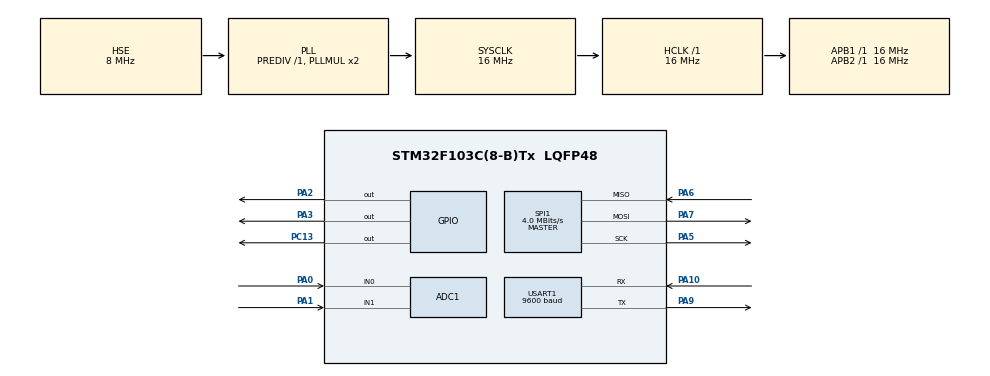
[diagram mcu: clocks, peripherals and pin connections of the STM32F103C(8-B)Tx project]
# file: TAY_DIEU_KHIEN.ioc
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ADC1.Channel-0\#ChannelRegularConversion=ADC_CHANNEL_0
ADC1.Channel-1\#ChannelRegularConversion=ADC_CHANNEL_1
ADC1.NbrOfConversion=2
ADC1.NbrOfConversionFlag=1
ADC1.Rank-0\#ChannelRegularConversion=1
ADC1.Rank-1\#ChannelRegularConversion=2
ADC1.SamplingTime-0\#ChannelRegularConversion=ADC_SAMPLETIME_1CYCLE_5
ADC1.SamplingTime-1\#ChannelRegularConversion=ADC_SAMPLETIME_1CYCLE_5
ADC1.master=1
Dma.ADC1.0.Direction=DMA_PERIPH_TO_MEMORY
Dma.ADC1.0.Instance=DMA1_Channel1
Dma.ADC1.0.MemDataAlignment=DMA_MDATAALIGN_HALFWORD
Dma.ADC1.0.MemInc=DMA_MINC_ENABLE
Dma.ADC1.0.Mode=DMA_CIRCULAR
Dma.ADC1.0.PeriphDataAlignment=DMA_PDATAALIGN_HALFWORD
Dma.ADC1.0.PeriphInc=DMA_PINC_DISABLE
Dma.ADC1.0.Priority=DMA_PRIORITY_LOW
Dma.Request0=ADC1
Mcu.Family=STM32F1
Mcu.Name=STM32F103C(8-B)Tx
Mcu.Package=LQFP48
NVIC.ADC1_2_IRQn=true\:0\:0\:false\:false\:true\:true\:true\:true
NVIC.DMA1_Channel1_IRQn=true\:0\:0\:false\:false\:true\:false\:true\:true
NVIC.PriorityGroup=NVIC_PRIORITYGROUP_4
PA0-WKUP.Signal=ADCx_IN0
PA1.Signal=ADCx_IN1
PA10.Mode=Asynchronous
PA10.Signal=USART1_RX
PA13.Mode=Serial_Wire
PA13.Signal=SYS_JTMS-SWDIO
PA14.Mode=Serial_Wire
PA14.Signal=SYS_JTCK-SWCLK
PA2.GPIO_Speed=GPIO_SPEED_FREQ_HIGH
PA2.Signal=GPIO_Output
PA3.GPIO_Speed=GPIO_SPEED_FREQ_HIGH
PA3.Signal=GPIO_Output
PA5.Mode=Full_Duplex_Master
PA5.Signal=SPI1_SCK
PA6.Mode=Full_Duplex_Master
PA6.Signal=SPI1_MISO
PA7.Mode=Full_Duplex_Master
PA7.Signal=SPI1_MOSI
PA9.Mode=Asynchronous
PA9.Signal=USART1_TX
PC13-TAMPER-RTC.GPIO_Speed=GPIO_SPEED_FREQ_HIGH
PC13-TAMPER-RTC.PinState=GPIO_PIN_SET
PC13-TAMPER-RTC.Signal=GPIO_Output
PD0-OSC_IN.Mode=HSE-External-Oscillator
PD0-OSC_IN.Signal=RCC_OSC_IN
PD1-OSC_OUT.Mode=HSE-External-Oscillator
PD1-OSC_OUT.Signal=RCC_OSC_OUT
ProjectManager.HeapSize=0x200
ProjectManager.StackSize=0x400
ProjectManager.TargetToolchain=STM32CubeIDE
RCC.AHBFreq_Value=16000000
RCC.APB1Freq_Value=16000000
RCC.APB1TimFreq_Value=16000000
RCC.APB2Freq_Value=16000000
RCC.APB2TimFreq_Value=16000000
RCC.HCLKFreq_Value=16000000
RCC.PLLSourceVirtual=RCC_PLLSOURCE_HSE
RCC.SYSCLKFreq_VALUE=16000000
RCC.SYSCLKSource=RCC_SYSCLKSOURCE_PLLCLK
RCC.USBFreq_Value=16000000
SH.ADCx_IN0.0=ADC1_IN0,IN0
SH.ADCx_IN1.0=ADC1_IN1,IN1
SPI1.BaudRatePrescaler=SPI_BAUDRATEPRESCALER_4
SPI1.CalculateBaudRate=4.0 MBits/s
SPI1.Direction=SPI_DIRECTION_2LINES
SPI1.Mode=SPI_MODE_MASTER
SPI1.VirtualType=VM_MASTER
USART1.BaudRate=9600
USART1.VirtualMode=VM_ASYNC
board=custom

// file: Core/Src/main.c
/* USER CODE BEGIN Header */
/**
  ******************************************************************************
  * @file           : main.c
  * @brief          : Main program body
  ******************************************************************************
  * @attention
  *
  * Copyright (c) 2024 STMicroelectronics.
  * All rights reserved.
  *
  * This software is licensed under terms that can be found in the LICENSE file
  * in the root directory of this software component.
  * If no LICENSE file comes with this software, it is provided AS-IS.
  *
  ******************************************************************************
  */
/* USER CODE END Header */
#include "main.h"

/* USER CODE BEGIN Includes */
#include "NRF24L01.h"
/* USER CODE END Includes */

ADC_HandleTypeDef hadc1;
DMA_HandleTypeDef hdma_adc1;

SPI_HandleTypeDef hspi1;

UART_HandleTypeDef huart1;

void SystemClock_Config(void);
static void MX_GPIO_Init(void);
static void MX_DMA_Init(void);
static void MX_ADC1_Init(void);
static void MX_SPI1_Init(void);
static void MX_USART1_UART_Init(void);

/* USER CODE BEGIN 0 */
uint8_t TX_ADD[]={0X01,0XDD,0XCC,0XBB,0XAA};
uint16_t buf_adc[32];
uint8_t Data_Left[]= "L";
uint8_t Data_Right[]="R";
uint8_t Data_Up[]=   "U";
uint8_t Data_Down[]= "D";
uint8_t Data_Stop[]= "Stop";
int i=0;//state = 1;
/* USER CODE END 0 */

int main(void)
{

  /* MCU Configuration--------------------------------------------------------*/

  /* Reset of all peripherals, Initializes the Flash interface and the Systick. */
  HAL_Init();

  /* Configure the system clock */
  SystemClock_Config();

  /* Initialize all configured peripherals */
  MX_GPIO_Init();
  MX_DMA_Init();
  MX_ADC1_Init();
  MX_SPI1_Init();
  MX_USART1_UART_Init();
  /* USER CODE BEGIN 2 */
  NRF24_Init();
  NRF24_TxMode(TX_ADD, 10);
  /* USER CODE END 2 */

  /* Infinite loop */
  while (1)
  {

    /* USER CODE BEGIN 3 */
	  HAL_ADC_Start_DMA(&hadc1, (uint32_t*)buf_adc, 2);
	  	  	HAL_Delay(20);
	  	  	HAL_ADC_Stop_DMA(&hadc1);

	  		if(buf_adc[0]>3500)
	  		{

				if(NRF24_Transmit(Data_Up)==1)
				{

					HAL_GPIO_TogglePin(GPIOC, GPIO_PIN_13);
					uint8_t Data_Tx[]="{\"Mess\":1}\n";
					HAL_UART_Transmit(&huart1,Data_Tx, strlen((char *)Data_Tx), 1000);

				}

	  			//state = 1;
	  		}
	  		else if(buf_adc[0]<10)
	  		{

				if(NRF24_Transmit(Data_Down)==1)
				{

					HAL_GPIO_TogglePin(GPIOC, GPIO_PIN_13);
					uint8_t Data_Tx[]="{\"Mess\":2}\n";
					HAL_UART_Transmit(&huart1,Data_Tx, strlen((char *)Data_Tx), 1000);
				}

	  			//state = 1;
	  		}
	  		else if(buf_adc[1]>3500)
	  		{

				if(NRF24_Transmit(Data_Left)==1)
				{

					HAL_GPIO_TogglePin(GPIOC, GPIO_PIN_13);
					uint8_t Data_Tx[]="{\"Mess\":3}\n";
					HAL_UART_Transmit(&huart1,Data_Tx, strlen((char *)Data_Tx), 1000);
				}

	  			//state = 1;
	  		}
	  		else if(buf_adc[1]<10)
	  		{

				if(NRF24_Transmit(Data_Right)==1){

					HAL_GPIO_TogglePin(GPIOC, GPIO_PIN_13);
					uint8_t Data_Tx[]="{\"Mess\":4}\n";
					HAL_UART_Transmit(&huart1,Data_Tx, strlen((char *)Data_Tx), 1000);

				}

	  			//state = 1;
	  		}
	  		else
	  		{

	  			//while(i<35)
	  			//{
	  				//if(state==1)
	  				//{
						if(NRF24_Transmit(Data_Stop)==1)
						{

							HAL_GPIO_TogglePin(GPIOC, GPIO_PIN_13);
							uint8_t Data_Tx[]="{\"Mess\":5}\n";
							HAL_UART_Transmit(&huart1,Data_Tx, strlen((char *)Data_Tx), 1000);

						}
	  				//}
					//i++;
	  			//}
	  			//i=0;
	  			//state = 0;
	  		}
  }
  /* USER CODE END 3 */
}

void SystemClock_Config(void)
{
  RCC_OscInitTypeDef RCC_OscInitStruct = {0};
  RCC_ClkInitTypeDef RCC_ClkInitStruct = {0};
  RCC_PeriphCLKInitTypeDef PeriphClkInit = {0};

  /** Initializes the RCC Oscillators according to the specified parameters
  * in the RCC_OscInitTypeDef structure.
  */
  RCC_OscInitStruct.OscillatorType = RCC_OSCILLATORTYPE_HSE;
  RCC_OscInitStruct.HSEState = RCC_HSE_ON;
  RCC_OscInitStruct.HSEPredivValue = RCC_HSE_PREDIV_DIV1;
  RCC_OscInitStruct.HSIState = RCC_HSI_ON;
  RCC_OscInitStruct.PLL.PLLState = RCC_PLL_ON;
  RCC_OscInitStruct.PLL.PLLSource = RCC_PLLSOURCE_HSE;
  RCC_OscInitStruct.PLL.PLLMUL = RCC_PLL_MUL2;
  if (HAL_RCC_OscConfig(&RCC_OscInitStruct) != HAL_OK)
  {
    Error_Handler();
  }

  /** Initializes the CPU, AHB and APB buses clocks
  */
  RCC_ClkInitStruct.ClockType = RCC_CLOCKTYPE_HCLK|RCC_CLOCKTYPE_SYSCLK
                              |RCC_CLOCKTYPE_PCLK1|RCC_CLOCKTYPE_PCLK2;
  RCC_ClkInitStruct.SYSCLKSource = RCC_SYSCLKSOURCE_PLLCLK;
  RCC_ClkInitStruct.AHBCLKDivider = RCC_SYSCLK_DIV1;
  RCC_ClkInitStruct.APB1CLKDivider = RCC_HCLK_DIV1;
  RCC_ClkInitStruct.APB2CLKDivider = RCC_HCLK_DIV1;

  if (HAL_RCC_ClockConfig(&RCC_ClkInitStruct, FLASH_LATENCY_0) != HAL_OK)
  {
    Error_Handler();
  }
  PeriphClkInit.PeriphClockSelection = RCC_PERIPHCLK_ADC;
  PeriphClkInit.AdcClockSelection = RCC_ADCPCLK2_DIV2;
  if (HAL_RCCEx_PeriphCLKConfig(&PeriphClkInit) != HAL_OK)
  {
    Error_Handler();
  }
}

static void MX_ADC1_Init(void)
{

  ADC_ChannelConfTypeDef sConfig = {0};

  /** Common config
  */
  hadc1.Instance = ADC1;
  hadc1.Init.ScanConvMode = ADC_SCAN_ENABLE;
  hadc1.Init.ContinuousConvMode = DISABLE;
  hadc1.Init.DiscontinuousConvMode = DISABLE;
  hadc1.Init.ExternalTrigConv = ADC_SOFTWARE_START;
  hadc1.Init.DataAlign = ADC_DATAALIGN_RIGHT;
  hadc1.Init.NbrOfConversion = 2;
  if (HAL_ADC_Init(&hadc1) != HAL_OK)
  {
    Error_Handler();
  }

  /** Configure Regular Channel
  */
  sConfig.Channel = ADC_CHANNEL_0;
  sConfig.Rank = ADC_REGULAR_RANK_1;
  sConfig.SamplingTime = ADC_SAMPLETIME_1CYCLE_5;
  if (HAL_ADC_ConfigChannel(&hadc1, &sConfig) != HAL_OK)
  {
    Error_Handler();
  }

  /** Configure Regular Channel
  */
  sConfig.Channel = ADC_CHANNEL_1;
  sConfig.Rank = ADC_REGULAR_RANK_2;
  if (HAL_ADC_ConfigChannel(&hadc1, &sConfig) != HAL_OK)
  {
    Error_Handler();
  }

}

static void MX_SPI1_Init(void)
{

  /* SPI1 parameter configuration*/
  hspi1.Instance = SPI1;
  hspi1.Init.Mode = SPI_MODE_MASTER;
  hspi1.Init.Direction = SPI_DIRECTION_2LINES;
  hspi1.Init.DataSize = SPI_DATASIZE_8BIT;
  hspi1.Init.CLKPolarity = SPI_POLARITY_LOW;
  hspi1.Init.CLKPhase = SPI_PHASE_1EDGE;
  hspi1.Init.NSS = SPI_NSS_SOFT;
  hspi1.Init.BaudRatePrescaler = SPI_BAUDRATEPRESCALER_4;
  hspi1.Init.FirstBit = SPI_FIRSTBIT_MSB;
  hspi1.Init.TIMode = SPI_TIMODE_DISABLE;
  hspi1.Init.CRCCalculation = SPI_CRCCALCULATION_DISABLE;
  hspi1.Init.CRCPolynomial = 10;
  if (HAL_SPI_Init(&hspi1) != HAL_OK)
  {
    Error_Handler();
  }

}

static void MX_USART1_UART_Init(void)
{

  huart1.Instance = USART1;
  huart1.Init.BaudRate = 9600;
  huart1.Init.WordLength = UART_WORDLENGTH_8B;
  huart1.Init.StopBits = UART_STOPBITS_1;
  huart1.Init.Parity = UART_PARITY_NONE;
  huart1.Init.Mode = UART_MODE_TX_RX;
  huart1.Init.HwFlowCtl = UART_HWCONTROL_NONE;
  huart1.Init.OverSampling = UART_OVERSAMPLING_16;
  if (HAL_UART_Init(&huart1) != HAL_OK)
  {
    Error_Handler();
  }

}

static void MX_DMA_Init(void)
{

  /* DMA controller clock enable */
  __HAL_RCC_DMA1_CLK_ENABLE();

  /* DMA interrupt init */
  /* DMA1_Channel1_IRQn interrupt configuration */
  HAL_NVIC_SetPriority(DMA1_Channel1_IRQn, 0, 0);
  HAL_NVIC_EnableIRQ(DMA1_Channel1_IRQn);

}

static void MX_GPIO_Init(void)
{
  GPIO_InitTypeDef GPIO_InitStruct = {0};

  /* GPIO Ports Clock Enable */
  __HAL_RCC_GPIOC_CLK_ENABLE();
  __HAL_RCC_GPIOD_CLK_ENABLE();
  __HAL_RCC_GPIOA_CLK_ENABLE();

  /*Configure GPIO pin Output Level */
  HAL_GPIO_WritePin(GPIOC, GPIO_PIN_13, GPIO_PIN_SET);

  /*Configure GPIO pin Output Level */
  HAL_GPIO_WritePin(GPIOA, GPIO_PIN_2|GPIO_PIN_3, GPIO_PIN_RESET);

  /*Configure GPIO pin : PC13 */
  GPIO_InitStruct.Pin = GPIO_PIN_13;
  GPIO_InitStruct.Mode = GPIO_MODE_OUTPUT_PP;
  GPIO_InitStruct.Pull = GPIO_NOPULL;
  GPIO_InitStruct.Speed = GPIO_SPEED_FREQ_HIGH;
  HAL_GPIO_Init(GPIOC, &GPIO_InitStruct);

  /*Configure GPIO pins : PA2 PA3 */
  GPIO_InitStruct.Pin = GPIO_PIN_2|GPIO_PIN_3;
  GPIO_InitStruct.Mode = GPIO_MODE_OUTPUT_PP;
  GPIO_InitStruct.Pull = GPIO_NOPULL;
  GPIO_InitStruct.Speed = GPIO_SPEED_FREQ_HIGH;
  HAL_GPIO_Init(GPIOA, &GPIO_InitStruct);

}

void Error_Handler(void)
{
  __disable_irq();
  while (1)
  {
  }
}
